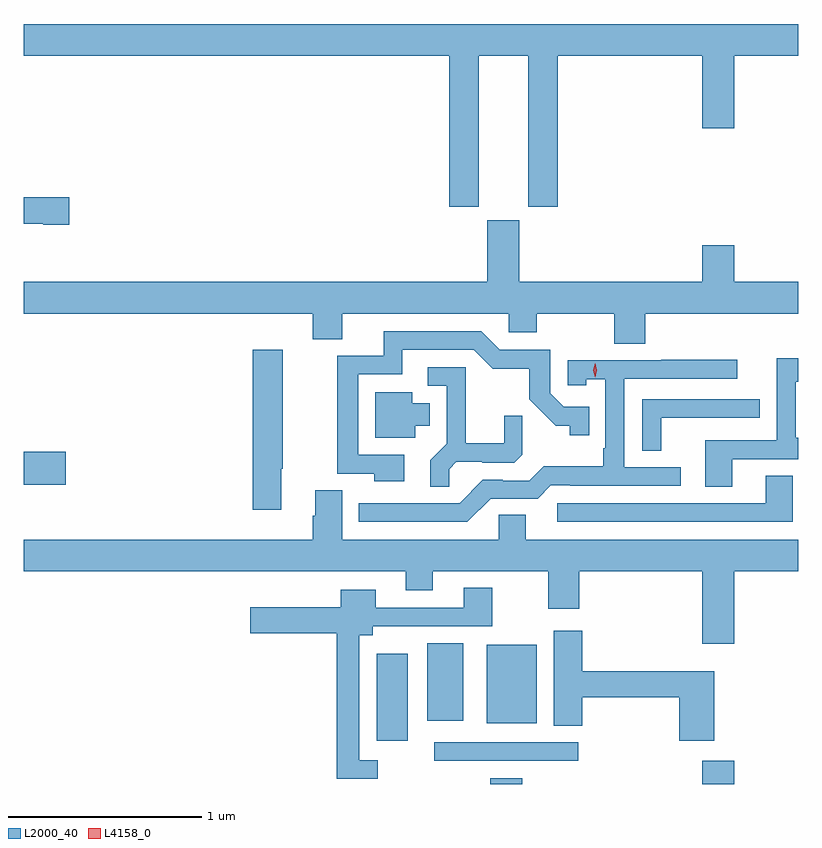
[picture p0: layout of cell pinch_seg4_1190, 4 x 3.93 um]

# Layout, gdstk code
import gdstk
lib = gdstk.Library(unit=1e-6, precision=1e-09)
def R(c, l, rs):  # rectangles x0, y0, x1, y1
    for r in rs: c.add(gdstk.rectangle(r[:2], r[2:], *l))
def P(c, l, *ps):  # polygons
    for p in ps: c.add(gdstk.Polygon(p, *l))
L2000_40 = (2000, 40)
L4158_0 = (4158, 0)

pinch_seg4_1190 = lib.new_cell('pinch_seg4_1190')
R(pinch_seg4_1190, L2000_40, [(343.733,790.393,343.898,790.423), (344.828,790.393,344.992,790.513), (343.443,790.512,344.188,790.608), (343.145,790.617,343.306,791.065), (343.715,790.706,343.972,791.113), (343.406,790.721,343.594,791.119), (341.323,791.939,341.539,792.11)])
P(pinch_seg4_1190, L2000_40, [(343.672,794.156),(343.928,794.156),(343.928,793.377),(344.081,793.377),(344.081,794.156),(344.828,794.156),(344.828,793.782),(344.992,793.782),(344.992,794.156),(345.323,794.156),(345.323,794.32),(341.323,794.32),(341.323,794.156),(343.52,794.156),(343.52,793.377),(343.672,793.377)],
  [(341.557,793.424),(341.323,793.424),(341.323,793.289),(341.424,793.289),(341.424,793.282),(341.557,793.282)],
  [(344.534,792.824),(345.323,792.824),(345.323,792.988),(344.992,792.988),(344.992,793.177),(344.828,793.177),(344.828,792.988),(343.882,792.988),(343.882,793.305),(343.718,793.305),(343.718,792.988),(341.323,792.988),(341.323,792.824),(342.815,792.824),(342.815,792.691),(342.967,792.691),(342.967,792.824),(343.827,792.824),(343.827,792.726),(343.974,792.726),(343.974,792.824),(344.374,792.824),(344.374,792.667),(344.534,792.667)],
  [(343.288,792.093),(343.05,792.093),(343.05,792.51),(343.279,792.51),(343.279,792.636),(343.647,792.636),(343.746,792.538),(343.935,792.538),(343.935,792.382),(344.072,792.245),(344.142,792.245),(344.142,792.195),(344.243,792.195),(344.243,792.342),(344.112,792.342),(344.043,792.411),(344.043,792.636),(343.782,792.636),(343.686,792.732),(343.181,792.732),(343.181,792.606),(342.942,792.606),(342.942,791.997),(343.132,791.997),(343.132,791.957),(343.288,791.957)],
  [(342.652,792.023),(342.66,792.023),(342.66,792.637),(342.506,792.637),(342.506,791.811),(342.652,791.811)],
  [(344.983,792.072),(345.323,792.072),(345.323,792.181),(345.31,792.181),(345.31,792.472),(345.323,792.472),(345.323,792.592),(345.213,792.592),(345.213,792.168),(344.843,792.168),(344.843,791.929),(344.983,791.929)],
  [(343.734,791.868),(343.977,791.868),(344.046,791.937),(344.146,791.937),(344.146,791.934),(344.716,791.934),(344.716,792.03),(344.424,792.03),(344.424,792.486),(345.01,792.486),(345.01,792.585),(344.617,792.585),(344.617,792.582),(344.133,792.582),(344.133,792.453),(344.229,792.453),(344.229,792.485),(344.328,792.485),(344.328,792.127),(344.316,792.127),(344.316,792.034),(344.008,792.034),(343.935,791.961),(343.796,791.961),(343.796,791.964),(343.695,791.964),(343.575,791.844),(343.052,791.844),(343.052,791.748),(343.614,791.748)],
  [(343.521,792.02),(343.558,792.057),(343.692,792.057),(343.692,792.054),(343.857,792.054),(343.898,792.095),(343.898,792.297),(343.804,792.297),(343.804,792.154),(343.607,792.154),(343.607,792.546),(343.41,792.546),(343.41,792.45),(343.509,792.45),(343.509,792.151),(343.423,792.065),(343.423,791.929),(343.521,791.929)],
  [(343.345,792.245),(343.42,792.245),(343.42,792.361),(343.33,792.361),(343.33,792.418),(343.139,792.418),(343.139,792.182),(343.345,792.182)],
  [(344.616,792.285),(345.011,792.285),(345.011,792.286),(345.124,792.286),(345.124,792.381),(344.517,792.381),(344.517,792.115),(344.616,792.115)],
  [(345.295,791.987),(345.155,791.987),(345.155,791.844),(344.079,791.844),(344.079,791.748),(345.295,791.748)],
  [(344.992,791.492),(345.323,791.492),(345.323,791.656),(343.915,791.656),(343.915,791.783),(343.776,791.783),(343.776,791.656),(342.967,791.656),(342.967,791.912),(342.827,791.912),(342.827,791.778),(342.815,791.778),(342.815,791.656),(341.323,791.656),(341.323,791.492),(343.295,791.492),(343.295,791.393),(343.435,791.393),(343.435,791.492),(344.032,791.492),(344.032,791.298),(344.192,791.298),(344.192,791.492),(344.828,791.492),(344.828,791.118),(344.992,791.118)],
  [(343.15,790.515),(343.056,790.515),(343.056,791.162),(343.126,791.162),(343.126,791.208),(343.743,791.208),(343.743,791.407),(343.595,791.407),(343.595,791.304),(343.141,791.304),(343.141,791.398),(342.959,791.398),(342.959,791.305),(342.492,791.305),(342.492,791.171),(342.94,791.171),(342.94,790.419),(343.15,790.419)],
  [(344.891,790.976),(344.207,790.976),(344.207,791.185),(344.06,791.185),(344.06,790.693),(344.207,790.693),(344.207,790.84),(344.708,790.84),(344.708,790.617),(344.891,790.617)])
P(pinch_seg4_1190, L4158_0, [(344.274,792.494),(344.274,792.495),(344.264,792.531),(344.274,792.567),(344.274,792.567),(344.275,792.567),(344.284,792.531),(344.275,792.495)])

lib.write_gds('pinch_seg4_1190.gds')
